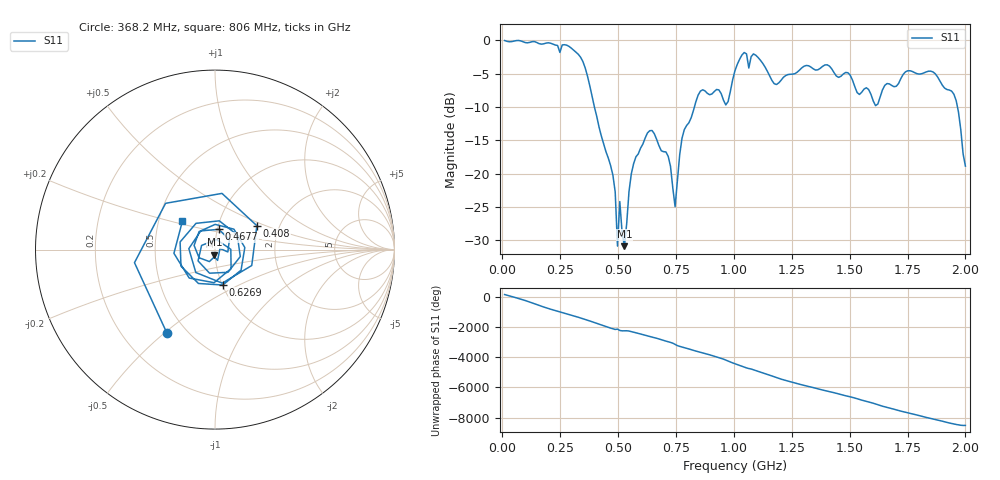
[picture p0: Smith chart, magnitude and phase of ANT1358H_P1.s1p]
!Created with skrf (http://scikit-rf.org).
# Hz S RI R 50.0
!freq ReS11 ImS11
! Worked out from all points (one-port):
!   201 points, 10 MHz to 2 GHz, reference 50 ohm
!   lowest |S11| = -30.9 dB at 527.4 MHz (marker M1), VSWR 1.06, Z = 49.6 - j2.81 ohm
!   |S11| at or under -10 dB: 397.9 MHz to 829.6 MHz (431.7 MHz wide, 70.3 % of centre); 1.966 GHz to end of sweep
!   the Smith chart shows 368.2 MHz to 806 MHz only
!   S11 on the Smith chart (normalised r, x): 368.2 MHz: 0.39, -0.51; 408 MHz: 1.53, +0.44; 467.7 MHz: 1.02, +0.23; 626.9 MHz: 1.01, -0.41; 806 MHz: 0.66, +0.22
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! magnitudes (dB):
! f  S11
! 10 MHz  0.0
! 258.8 MHz  -0.7
! 368.2 MHz  -5.4
! 408 MHz  -11.4
! 467.7 MHz  -18.8
! 487.6 MHz  -22.8
! 497.6 MHz  -30.9
! 507.5 MHz  -24.2
! 527.4 MHz  -30.9
! 557.2 MHz  -20.0
! 626.9 MHz  -13.9
! 716.5 MHz  -17.4
! 746.3 MHz  -25.0
! 756.2 MHz  -21.1
! 776.1 MHz  -14.7
! 806 MHz  -12.4
! 865.7 MHz  -7.4
! 965.2 MHz  -9.7
! 1.005 GHz  -4.5
! 1.045 GHz  -1.8
! 1.174 GHz  -6.5
! 1.254 GHz  -5.1
! 1.502 GHz  -5.2
! 1.612 GHz  -9.8
! 1.751 GHz  -4.6
! 1.861 GHz  -4.7
! 1.95 GHz  -8.1
! 2 GHz  -18.9
